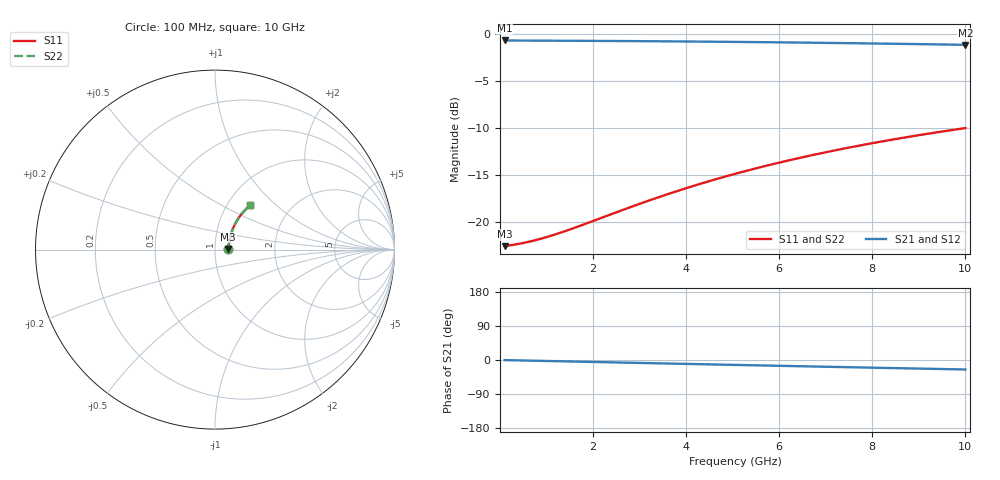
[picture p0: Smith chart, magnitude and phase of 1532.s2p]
# Hz S RI R 50.00
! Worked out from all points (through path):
!   100 points, 100 MHz to 10 GHz, reference 50 ohm
!   highest |S21| = -0.67 dB at 100 MHz (marker M1); lowest = -1.1 dB at 10 GHz (marker M2)
!   group delay of S21, straight-line fit = 6.96 ps
!   lowest |S11| = -22.6 dB at 100 MHz (marker M3), VSWR 1.16, Z = 58 + j0.345 ohm
!   |S11| at or under -10 dB: start of sweep to end of sweep
!   |S22| runs from -22.6 to -10.0 dB; largest |S21 - S12| = 0
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1e8  0.0739 0.00296  0.9261 -0.00419  0.9261 -0.00419  0.0739 0.00296
3e8  0.0748 0.00885  0.9252 -0.0126  0.9252 -0.0126  0.0748 0.00885
5e8  0.0755 0.0147  0.9245 -0.0209  0.9245 -0.0209  0.0755 0.0147
7e8  0.0762 0.0206  0.9238 -0.0292  0.9238 -0.0292  0.0762 0.0206
9e8  0.0769 0.0264  0.923 -0.0375  0.923 -0.0375  0.0769 0.0264
1.1e9  0.0777 0.0323  0.9222 -0.0458  0.9222 -0.0458  0.0777 0.0323
1.3e9  0.0786 0.0381  0.9213 -0.0541  0.9213 -0.0541  0.0786 0.0381
1.8e9  0.0811 0.0525  0.9187 -0.0748  0.9187 -0.0748  0.0811 0.0525
2.8e9  0.0878 0.0809  0.9116 -0.1155  0.9116 -0.1155  0.0878 0.0809
3.4e9  0.0929 0.0975  0.9061 -0.1396  0.9061 -0.1396  0.0929 0.0975
3.8e9  0.0968 0.1084  0.902 -0.1554  0.902 -0.1554  0.0968 0.1084
4.2e9  0.1011 0.1191  0.8975 -0.1711  0.8975 -0.1711  0.1011 0.1191
4.6e9  0.1057 0.1296  0.8926 -0.1866  0.8926 -0.1866  0.1057 0.1296
5.1e9  0.1119 0.1425  0.886 -0.2056  0.886 -0.2056  0.1119 0.1425
5.5e9  0.1173 0.1525  0.8803 -0.2206  0.8803 -0.2206  0.1173 0.1525
5.9e9  0.1229 0.1623  0.8742 -0.2354  0.8742 -0.2354  0.1229 0.1623
6.3e9  0.1289 0.1719  0.8678 -0.2499  0.8678 -0.2499  0.1289 0.1719
6.7e9  0.1352 0.1812  0.8611 -0.2642  0.8611 -0.2642  0.1352 0.1812
7.5e9  0.1486 0.1989  0.8468 -0.292  0.8468 -0.292  0.1486 0.1989
8.4e9  0.1649 0.2175  0.8293 -0.3218  0.8293 -0.3218  0.1649 0.2175
9.2e9  0.1804 0.2328  0.8127 -0.3471  0.8127 -0.3471  0.1804 0.2328
1e10  0.1966 0.2468  0.7953 -0.3712  0.7953 -0.3712  0.1966 0.2468
